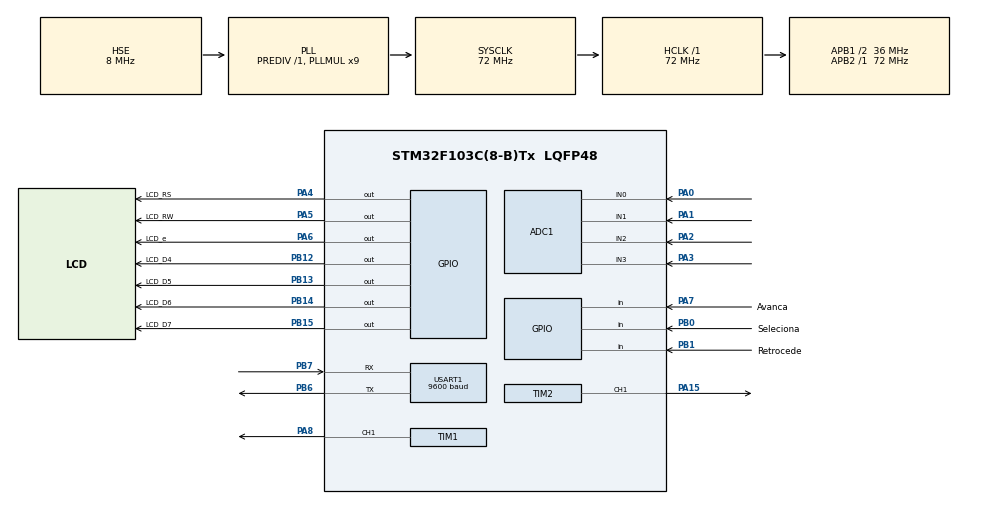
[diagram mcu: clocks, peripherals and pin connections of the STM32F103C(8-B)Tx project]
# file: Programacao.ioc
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ADC1.Channel-0\#ChannelRegularConversion=ADC_CHANNEL_0
ADC1.Channel-1\#ChannelRegularConversion=ADC_CHANNEL_1
ADC1.Channel-2\#ChannelRegularConversion=ADC_CHANNEL_2
ADC1.Channel-3\#ChannelRegularConversion=ADC_CHANNEL_3
ADC1.ContinuousConvMode=DISABLE
ADC1.EnableAnalogWatchDog=false
ADC1.ExternalTrigConv=ADC_EXTERNALTRIGCONV_T3_TRGO
ADC1.NbrOfConversion=4
ADC1.NbrOfConversionFlag=1
ADC1.Rank-0\#ChannelRegularConversion=1
ADC1.Rank-1\#ChannelRegularConversion=2
ADC1.Rank-2\#ChannelRegularConversion=3
ADC1.Rank-3\#ChannelRegularConversion=4
ADC1.SamplingTime-0\#ChannelRegularConversion=ADC_SAMPLETIME_239CYCLES_5
ADC1.SamplingTime-1\#ChannelRegularConversion=ADC_SAMPLETIME_239CYCLES_5
ADC1.SamplingTime-2\#ChannelRegularConversion=ADC_SAMPLETIME_239CYCLES_5
ADC1.SamplingTime-3\#ChannelRegularConversion=ADC_SAMPLETIME_239CYCLES_5
ADC1.master=1
Dma.ADC1.0.Direction=DMA_PERIPH_TO_MEMORY
Dma.ADC1.0.Instance=DMA1_Channel1
Dma.ADC1.0.MemDataAlignment=DMA_MDATAALIGN_WORD
Dma.ADC1.0.MemInc=DMA_MINC_ENABLE
Dma.ADC1.0.Mode=DMA_CIRCULAR
Dma.ADC1.0.PeriphDataAlignment=DMA_PDATAALIGN_WORD
Dma.ADC1.0.PeriphInc=DMA_PINC_DISABLE
Dma.ADC1.0.Priority=DMA_PRIORITY_LOW
Dma.Request0=ADC1
Dma.Request1=USART1_TX
Dma.USART1_TX.1.Direction=DMA_MEMORY_TO_PERIPH
Dma.USART1_TX.1.Instance=DMA1_Channel4
Dma.USART1_TX.1.MemDataAlignment=DMA_MDATAALIGN_BYTE
Dma.USART1_TX.1.MemInc=DMA_MINC_ENABLE
Dma.USART1_TX.1.Mode=DMA_NORMAL
Dma.USART1_TX.1.PeriphDataAlignment=DMA_PDATAALIGN_BYTE
Dma.USART1_TX.1.PeriphInc=DMA_PINC_DISABLE
Dma.USART1_TX.1.Priority=DMA_PRIORITY_LOW
Mcu.Family=STM32F1
Mcu.Name=STM32F103C(8-B)Tx
Mcu.Package=LQFP48
NVIC.ADC1_2_IRQn=true\:0\:0\:true\:false\:true\:true\:true\:true
NVIC.DMA1_Channel1_IRQn=true\:0\:0\:true\:false\:true\:false\:true\:true
NVIC.DMA1_Channel4_IRQn=true\:0\:0\:false\:false\:true\:false\:true\:true
NVIC.PriorityGroup=NVIC_PRIORITYGROUP_4
NVIC.USART1_IRQn=true\:1\:0\:true\:false\:true\:true\:true\:true
PA0-WKUP.Signal=ADCx_IN0
PA1.Signal=ADCx_IN1
PA13.Mode=Serial_Wire
PA13.Signal=SYS_JTMS-SWDIO
PA14.Mode=Serial_Wire
PA14.Signal=SYS_JTCK-SWCLK
PA15.Signal=S_TIM2_CH1_ETR
PA2.Signal=ADCx_IN2
PA3.Signal=ADCx_IN3
PA4.GPIO_Label=LCD_RS
PA4.GPIO_Speed=GPIO_SPEED_FREQ_HIGH
PA4.Signal=GPIO_Output
PA5.GPIO_Label=LCD_RW
PA5.GPIO_Speed=GPIO_SPEED_FREQ_HIGH
PA5.Signal=GPIO_Output
PA6.GPIO_Label=LCD_e
PA6.GPIO_Speed=GPIO_SPEED_FREQ_HIGH
PA6.Signal=GPIO_Output
PA7.GPIO_Label=Avanca
PA7.GPIO_PuPd=GPIO_PULLUP
PA7.Signal=GPIO_Input
PA8.Signal=S_TIM1_CH1
PB0.GPIO_Label=Seleciona
PB0.GPIO_PuPd=GPIO_PULLUP
PB0.Signal=GPIO_Input
PB1.GPIO_Label=Retrocede
PB1.GPIO_PuPd=GPIO_PULLUP
PB1.Signal=GPIO_Input
PB12.GPIO_Label=LCD_D4
PB12.GPIO_Speed=GPIO_SPEED_FREQ_HIGH
PB12.Signal=GPIO_Output
PB13.GPIO_Label=LCD_D5
PB13.GPIO_Speed=GPIO_SPEED_FREQ_HIGH
PB13.Signal=GPIO_Output
PB14.GPIO_Label=LCD_D6
PB14.GPIO_Speed=GPIO_SPEED_FREQ_HIGH
PB14.Signal=GPIO_Output
PB15.GPIO_Label=LCD_D7
PB15.GPIO_Speed=GPIO_SPEED_FREQ_HIGH
PB15.Signal=GPIO_Output
PB6.Mode=Asynchronous
PB6.Signal=USART1_TX
PB7.Mode=Asynchronous
PB7.Signal=USART1_RX
PD0-OSC_IN.Mode=HSE-External-Oscillator
PD0-OSC_IN.Signal=RCC_OSC_IN
PD1-OSC_OUT.Mode=HSE-External-Oscillator
PD1-OSC_OUT.Signal=RCC_OSC_OUT
ProjectManager.HeapSize=0x200
ProjectManager.StackSize=0x400
ProjectManager.TargetToolchain=STM32CubeIDE
RCC.ADCPresc=RCC_ADCPCLK2_DIV6
RCC.AHBFreq_Value=72000000
RCC.APB1CLKDivider=RCC_HCLK_DIV2
RCC.APB1Freq_Value=36000000
RCC.APB1TimFreq_Value=72000000
RCC.APB2Freq_Value=72000000
RCC.APB2TimFreq_Value=72000000
RCC.HCLKFreq_Value=72000000
RCC.PLLMUL=RCC_PLL_MUL9
RCC.PLLSourceVirtual=RCC_PLLSOURCE_HSE
RCC.SYSCLKFreq_VALUE=72000000
RCC.SYSCLKSource=RCC_SYSCLKSOURCE_PLLCLK
RCC.USBFreq_Value=72000000
SH.ADCx_IN0.0=ADC1_IN0,IN0
SH.ADCx_IN1.0=ADC1_IN1,IN1
SH.ADCx_IN2.0=ADC1_IN2,IN2
SH.ADCx_IN3.0=ADC1_IN3,IN3
SH.S_TIM1_CH1.0=TIM1_CH1,PWM Generation1 CH1
SH.S_TIM2_CH1_ETR.0=TIM2_CH1,PWM Generation1 CH1
TIM1.Channel-PWM\ Generation1\ CH1=TIM_CHANNEL_1
TIM1.Period=99
TIM1.Prescaler=719
TIM2.Channel-PWM\ Generation1\ CH1=TIM_CHANNEL_1
TIM2.Period=99
TIM2.Prescaler=719
TIM3.Period=999
TIM3.Prescaler=7199
TIM3.TIM_MasterOutputTrigger=TIM_TRGO_UPDATE
TIM3.TIM_MasterSlaveMode=TIM_MASTERSLAVEMODE_ENABLE
TIM4.Period=9999
TIM4.Prescaler=7199
USART1.BaudRate=9600
USART1.VirtualMode=VM_ASYNC
VP_TIM1_VS_ClockSourceINT.Mode=Internal
VP_TIM2_VS_ClockSourceINT.Mode=Internal
VP_TIM3_VS_ClockSourceINT.Mode=Internal
VP_TIM4_VS_ClockSourceINT.Mode=Internal
board=custom

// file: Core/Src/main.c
/* USER CODE BEGIN Header */
/**
  ******************************************************************************
  * @file           : main.c
  * @brief          : Main program body
  ******************************************************************************
  * @attention
  *
  * Copyright (c) 2024 STMicroelectronics.
  * All rights reserved.
  *
  * This software is licensed under terms that can be found in the LICENSE file
  * in the root directory of this software component.
  * If no LICENSE file comes with this software, it is provided AS-IS.
  *
  ******************************************************************************
  */
/* USER CODE END Header */
#include "main.h"

/* USER CODE BEGIN Includes */
#include "lcd.h"
/* USER CODE END Includes */

/* USER CODE BEGIN PD */
#define ADC_BUF_SIZE 4
/* USER CODE END PD */

/* USER CODE BEGIN PM */
char teste[32];
float umidade = 0.0f;
/* USER CODE END PM */

ADC_HandleTypeDef hadc1;
DMA_HandleTypeDef hdma_adc1;

TIM_HandleTypeDef htim1;
TIM_HandleTypeDef htim2;
TIM_HandleTypeDef htim3;
TIM_HandleTypeDef htim4;

UART_HandleTypeDef huart1;
DMA_HandleTypeDef hdma_usart1_tx;

/* USER CODE BEGIN PV */
uint32_t adc_buffer[ADC_BUF_SIZE];
uint8_t adc_ready = 0;
int currentItem = 0;
int8_t option = 0;
uint8_t flag_clear_disp = 0;
int8_t selec = 0;
int8_t aux_sub = 0;
int8_t aux_sub_modo = 0;
int8_t aux_sub_reg = 0;
int8_t aux_sub_sec = 0;

uint16_t cont = 0;
uint8_t libera_cont = 0;

uint32_t ch0;
uint32_t ch1;
uint32_t ch2;
uint32_t ch3;

uint8_t RX_msg[1];
uint8_t TX_msg[60] = "";
uint32_t Duty = 0;
/* USER CODE END PV */

void SystemClock_Config(void);
static void MX_GPIO_Init(void);
static void MX_DMA_Init(void);
static void MX_ADC1_Init(void);
static void MX_TIM3_Init(void);
static void MX_USART1_UART_Init(void);
static void MX_TIM1_Init(void);
static void MX_TIM2_Init(void);
static void MX_TIM4_Init(void);

/* USER CODE BEGIN 0 */
void HAL_UART_RxCpltCallback(UART_HandleTypeDef *huart)
{
	HAL_UART_Receive_IT(&huart1, RX_msg, 1);
}
/* USER CODE END 0 */

int main(void)
{

  /* MCU Configuration--------------------------------------------------------*/

  /* Reset of all peripherals, Initializes the Flash interface and the Systick. */
  HAL_Init();

  /* Configure the system clock */
  SystemClock_Config();

  /* Initialize all configured peripherals */
  MX_GPIO_Init();
  MX_DMA_Init();
  MX_ADC1_Init();
  MX_TIM3_Init();
  MX_USART1_UART_Init();
  MX_TIM1_Init();
  MX_TIM2_Init();
  MX_TIM4_Init();
  /* USER CODE BEGIN 2 */
  HAL_ADCEx_Calibration_Start(&hadc1);
  HAL_ADC_Start_DMA(&hadc1, adc_buffer, ADC_BUF_SIZE);
  HAL_TIM_Base_Start(&htim3);

  HAL_TIM_PWM_Start(&htim1, TIM_CHANNEL_1);
  HAL_TIM_PWM_Start(&htim2, TIM_CHANNEL_1);

  TIM1->CCR1 = 0;
  TIM2->CCR1 = 0;

  HAL_UART_Receive_IT(&huart1, RX_msg, 1);
  HAL_UART_Transmit_DMA(&huart1, TX_msg, sizeof(TX_msg));
  //HAL_UART_Transmit(&huart1, TX_msg, sizeof(TX_msg), 10);

  Lcd_PortType ports[] = {
		  LCD_D4_GPIO_Port, LCD_D5_GPIO_Port, LCD_D6_GPIO_Port, LCD_D7_GPIO_Port};
  Lcd_PinType pins[] = {LCD_D4_Pin, LCD_D5_Pin, LCD_D6_Pin, LCD_D7_Pin};
  Lcd_HandleTypeDef lcd;
  lcd = Lcd_create(ports, pins, LCD_RS_GPIO_Port, LCD_RS_Pin, LCD_e_GPIO_Port, LCD_e_Pin, LCD_4_BIT_MODE);

  Lcd_cursor(&lcd, 0, 4);
  Lcd_string(&lcd,"OhmPower");

  Lcd_cursor(&lcd, 1, 3);
  Lcd_string(&lcd,"Electronic");

  HAL_Delay(5000);

  Lcd_clear(&lcd);
  /* USER CODE END 2 */

  /* Infinite loop */
  while (1)
  {

    /* USER CODE BEGIN 3 */
	  if(adc_ready == 1){
		  adc_ready = 0;
		  ch0 = 4095 - adc_buffer[0];//Sensor de Umidade Planta
		  umidade = 100*(float)ch0/4095;
		  ch1 = adc_buffer[1];//Sensor de Nivel Prato
		  ch2 = adc_buffer[2];//Sensor de Nivel Reservatorio
		  ch3 = adc_buffer[3];

		  loop();

		  /*sprintf(TX_msg, "Valor Digital = %u %u %u %u\r\n", ch0, ch1, ch2, ch3);
		  //HAL_UART_Transmit_IT(&huart1, TX_msg, sizeof(TX_msg), 20);
		  HAL_UART_Transmit_DMA(&huart1, TX_msg, sizeof(TX_msg));

		  HAL_Delay(100);
		  sprintf(TX_msg, "Valor adc_ready = %d\r\n", adc_ready);
		  HAL_UART_Transmit_DMA(&huart1, TX_msg, sizeof(TX_msg));*/

		  //Duty = 1 + (ch0*98/4095);

		  //TIM1->CCR1 = Duty;
		  //TIM2->CCR1 = Duty;
		  /*Lcd_cursor(&lcd, 0, 0);
		  sprintf(teste,"%u %u", ch0, ch1);
		  Lcd_string(&lcd,teste);
		  Lcd_cursor(&lcd, 1, 0);
		  sprintf(teste,"%u %u", ch2, ch3);
		  Lcd_string(&lcd,teste);
		  */
	  }

	  if (flag_clear_disp == 1){
		  Lcd_clear(&lcd);
		  flag_clear_disp = 0;
	  }

	  //loop();

	  switch (option) {
		  case 0://Quador de Avisos
			  switch (selec) {
				  case 0://Sub quadro principal
					Lcd_cursor(&lcd, 0, 5);
					Lcd_string(&lcd,"Avisos");
					break;
				  case 1://Sub quadro de Indicação de Umidade
					if(ch0 >= 1600){
						//Lcd_clear(&lcd);
						Lcd_cursor(&lcd, 0, 2);
						Lcd_string(&lcd,"Umidade Alta ");
					}
					else if(ch0 < 1600 && ch0 > 400){
						//Lcd_clear(&lcd);
						Lcd_cursor(&lcd, 0, 2);
						Lcd_string(&lcd,"Umidade Boa  ");
					}
					else{
						//Lcd_clear(&lcd);
						Lcd_cursor(&lcd, 0, 2);
						Lcd_string(&lcd,"Umidade Baixa");
					}
					break;
				  case 2://Sub quadro de Indicação de Risco de Dengue
						if(ch1 > 1600){
							//Lcd_clear(&lcd);
							Lcd_cursor(&lcd, 0, 0);
							Lcd_string(&lcd,"Risco de Dengue");
							Lcd_cursor(&lcd, 1, 0);
							Lcd_string(&lcd,"Esvazie o Prato");
						}
						else{
							//Lcd_clear(&lcd);
							Lcd_cursor(&lcd, 0, 0);
							Lcd_string(&lcd,"Sem Risco de");
							Lcd_cursor(&lcd, 1, 0);
							Lcd_string(&lcd,"Dengue         ");
						}
						break;
				  case 3:
						Lcd_cursor(&lcd, 0, 0);
						Lcd_string(&lcd,"Alta Umidade");
						Lcd_cursor(&lcd, 1, 0);
						Lcd_string(&lcd,"Afoga a Planta");
						break;
				  case 4:
						Lcd_cursor(&lcd, 0, 0);
						Lcd_string(&lcd,"Todos Contra o");
						Lcd_cursor(&lcd, 1, 0);
						Lcd_string(&lcd,"Mosquito");
						break;
			  }
			  break;
		  case 1://Quadro de Umidade Atual e Desejada
			  switch (selec) {
				  case 0://Sub quadro Principal
					  Lcd_cursor(&lcd, 0, 5);
					  Lcd_string(&lcd,"Umidade");
					  Lcd_cursor(&lcd, 1, 4);
					  Lcd_string(&lcd,"da Planta");
					  break;
				  case 1:
					  Lcd_cursor(&lcd, 0, 2);
					  Lcd_string(&lcd,"Umidade Atual");

					  Lcd_cursor(&lcd, 1, 6);
					  sprintf(teste,"%.2f %%", umidade);
					  Lcd_string(&lcd,teste);
					  break;
				  case 2:
					  Lcd_cursor(&lcd, 0, 0);
					  Lcd_string(&lcd,"Umidade Desejada");

					  Lcd_cursor(&lcd, 1, 6);
					  sprintf(teste,"%u %%", aux_sub*10);
					  Lcd_string(&lcd,teste);
					  if (aux_sub>4){
						  Lcd_cursor(&lcd, 1, 4);
						  Lcd_string(&lcd,"!");
						  Lcd_cursor(&lcd, 1, 11);
						  Lcd_string(&lcd,"!");
					  }
					  else if (aux_sub<4){
						  Lcd_cursor(&lcd, 1, 4);
						  Lcd_string(&lcd," ");
						  Lcd_cursor(&lcd, 1, 11);
						  Lcd_string(&lcd," ");
					  }
					  break;

			  }
			  break;
		  case 2://Quadro de Modo Automatico
			  switch (selec) {
				  case 0:
					  Lcd_cursor(&lcd, 0, 2);
					  Lcd_string(&lcd,"Regar Planta");
					  Lcd_cursor(&lcd, 1, 0);
					  Lcd_string(&lcd,"Automaticamente");
					  break;
				  case 1:
					  if(aux_sub_modo == 0){
						  Lcd_cursor(&lcd, 0, 1);
						  Lcd_string(&lcd,"Modo Automatico");
						  Lcd_cursor(&lcd, 1, 0);
						  Lcd_string(&lcd,"Desativado");
						  libera_cont = 0;
					  }
					  else if (aux_sub_modo == 1){
						  Lcd_cursor(&lcd, 0, 1);
						  Lcd_string(&lcd,"Modo Automatico");
						  Lcd_cursor(&lcd, 1, 0);
						  Lcd_string(&lcd,"Ativado");
						  libera_cont = 1;
					  }
					  break;
			  }

			  break;
		  case 3://Quadro de Regar Manualmente
			  switch (selec) {
				  case 0:
					  Lcd_cursor(&lcd, 0, 2);
					  Lcd_string(&lcd,"Regar Planta");
					  Lcd_cursor(&lcd, 1, 2);
					  Lcd_string(&lcd,"Manualmente");
					  break;
				  case 1:
					  if(aux_sub_reg == 0){
						  Lcd_cursor(&lcd, 0, 1);
						  Lcd_string(&lcd,"Regar Planta");
						  Lcd_cursor(&lcd, 1, 0);
						  Lcd_string(&lcd,"Desativado");
						  TIM1->CCR1 = 0;
					  }
					  else if (aux_sub_reg == 1){
						  Lcd_cursor(&lcd, 0, 1);
						  Lcd_string(&lcd,"Regar Planta");
						  Lcd_cursor(&lcd, 1, 0);
						  Lcd_string(&lcd,"Ativado");
						  TIM1->CCR1 = 65;
						  //libera_cont = 1;
					  }
					  break;
			  }
			  break;
		  case 4://Quadro de Secar Manulmente
			  switch (selec) {
				  case 0:
					  Lcd_cursor(&lcd, 0, 2);
					  Lcd_string(&lcd,"Secar Prato");
					  Lcd_cursor(&lcd, 1, 2);
					  Lcd_string(&lcd,"Manualmente");
					  break;
				  case 1:
					  if(aux_sub_sec == 0){
						  Lcd_cursor(&lcd, 0, 2);
						  Lcd_string(&lcd,"Secar Prato");
						  Lcd_cursor(&lcd, 1, 0);
						  Lcd_string(&lcd,"Desativado");
						  TIM2->CCR1 = 0;
					  }
					  else if (aux_sub_sec == 1){
						  Lcd_cursor(&lcd, 0, 2);
						  Lcd_string(&lcd,"Secar Prato");
						  Lcd_cursor(&lcd, 1, 0);
						  Lcd_string(&lcd,"Ativado");
						  TIM2->CCR1 = 75;
					  }
					  break;
			  }
			  break;
	  }

  }
  /* USER CODE END 3 */
}

void SystemClock_Config(void)
{
  RCC_OscInitTypeDef RCC_OscInitStruct = {0};
  RCC_ClkInitTypeDef RCC_ClkInitStruct = {0};
  RCC_PeriphCLKInitTypeDef PeriphClkInit = {0};

  /** Initializes the RCC Oscillators according to the specified parameters
  * in the RCC_OscInitTypeDef structure.
  */
  RCC_OscInitStruct.OscillatorType = RCC_OSCILLATORTYPE_HSE;
  RCC_OscInitStruct.HSEState = RCC_HSE_ON;
  RCC_OscInitStruct.HSEPredivValue = RCC_HSE_PREDIV_DIV1;
  RCC_OscInitStruct.HSIState = RCC_HSI_ON;
  RCC_OscInitStruct.PLL.PLLState = RCC_PLL_ON;
  RCC_OscInitStruct.PLL.PLLSource = RCC_PLLSOURCE_HSE;
  RCC_OscInitStruct.PLL.PLLMUL = RCC_PLL_MUL9;
  if (HAL_RCC_OscConfig(&RCC_OscInitStruct) != HAL_OK)
  {
    Error_Handler();
  }

  /** Initializes the CPU, AHB and APB buses clocks
  */
  RCC_ClkInitStruct.ClockType = RCC_CLOCKTYPE_HCLK|RCC_CLOCKTYPE_SYSCLK
                              |RCC_CLOCKTYPE_PCLK1|RCC_CLOCKTYPE_PCLK2;
  RCC_ClkInitStruct.SYSCLKSource = RCC_SYSCLKSOURCE_PLLCLK;
  RCC_ClkInitStruct.AHBCLKDivider = RCC_SYSCLK_DIV1;
  RCC_ClkInitStruct.APB1CLKDivider = RCC_HCLK_DIV2;
  RCC_ClkInitStruct.APB2CLKDivider = RCC_HCLK_DIV1;

  if (HAL_RCC_ClockConfig(&RCC_ClkInitStruct, FLASH_LATENCY_2) != HAL_OK)
  {
    Error_Handler();
  }
  PeriphClkInit.PeriphClockSelection = RCC_PERIPHCLK_ADC;
  PeriphClkInit.AdcClockSelection = RCC_ADCPCLK2_DIV6;
  if (HAL_RCCEx_PeriphCLKConfig(&PeriphClkInit) != HAL_OK)
  {
    Error_Handler();
  }
}

static void MX_ADC1_Init(void)
{

  ADC_ChannelConfTypeDef sConfig = {0};

  /** Common config
  */
  hadc1.Instance = ADC1;
  hadc1.Init.ScanConvMode = ADC_SCAN_ENABLE;
  hadc1.Init.ContinuousConvMode = DISABLE;
  hadc1.Init.DiscontinuousConvMode = DISABLE;
  hadc1.Init.ExternalTrigConv = ADC_EXTERNALTRIGCONV_T3_TRGO;
  hadc1.Init.DataAlign = ADC_DATAALIGN_RIGHT;
  hadc1.Init.NbrOfConversion = 4;
  if (HAL_ADC_Init(&hadc1) != HAL_OK)
  {
    Error_Handler();
  }

  /** Configure Regular Channel
  */
  sConfig.Channel = ADC_CHANNEL_0;
  sConfig.Rank = ADC_REGULAR_RANK_1;
  sConfig.SamplingTime = ADC_SAMPLETIME_239CYCLES_5;
  if (HAL_ADC_ConfigChannel(&hadc1, &sConfig) != HAL_OK)
  {
    Error_Handler();
  }

  /** Configure Regular Channel
  */
  sConfig.Channel = ADC_CHANNEL_1;
  sConfig.Rank = ADC_REGULAR_RANK_2;
  if (HAL_ADC_ConfigChannel(&hadc1, &sConfig) != HAL_OK)
  {
    Error_Handler();
  }

  /** Configure Regular Channel
  */
  sConfig.Channel = ADC_CHANNEL_2;
  sConfig.Rank = ADC_REGULAR_RANK_3;
  if (HAL_ADC_ConfigChannel(&hadc1, &sConfig) != HAL_OK)
  {
    Error_Handler();
  }

  /** Configure Regular Channel
  */
  sConfig.Channel = ADC_CHANNEL_3;
  sConfig.Rank = ADC_REGULAR_RANK_4;
  if (HAL_ADC_ConfigChannel(&hadc1, &sConfig) != HAL_OK)
  {
    Error_Handler();
  }

}

static void MX_TIM1_Init(void)
{

  TIM_ClockConfigTypeDef sClockSourceConfig = {0};
  TIM_MasterConfigTypeDef sMasterConfig = {0};
  TIM_OC_InitTypeDef sConfigOC = {0};
  TIM_BreakDeadTimeConfigTypeDef sBreakDeadTimeConfig = {0};

  htim1.Instance = TIM1;
  htim1.Init.Prescaler = 719;
  htim1.Init.CounterMode = TIM_COUNTERMODE_UP;
  htim1.Init.Period = 99;
  htim1.Init.ClockDivision = TIM_CLOCKDIVISION_DIV1;
  htim1.Init.RepetitionCounter = 0;
  htim1.Init.AutoReloadPreload = TIM_AUTORELOAD_PRELOAD_DISABLE;
  if (HAL_TIM_Base_Init(&htim1) != HAL_OK)
  {
    Error_Handler();
  }
  sClockSourceConfig.ClockSource = TIM_CLOCKSOURCE_INTERNAL;
  if (HAL_TIM_ConfigClockSource(&htim1, &sClockSourceConfig) != HAL_OK)
  {
    Error_Handler();
  }
  if (HAL_TIM_PWM_Init(&htim1) != HAL_OK)
  {
    Error_Handler();
  }
  sMasterConfig.MasterOutputTrigger = TIM_TRGO_RESET;
  sMasterConfig.MasterSlaveMode = TIM_MASTERSLAVEMODE_DISABLE;
  if (HAL_TIMEx_MasterConfigSynchronization(&htim1, &sMasterConfig) != HAL_OK)
  {
    Error_Handler();
  }
  sConfigOC.OCMode = TIM_OCMODE_PWM1;
  sConfigOC.Pulse = 0;
  sConfigOC.OCPolarity = TIM_OCPOLARITY_HIGH;
  sConfigOC.OCNPolarity = TIM_OCNPOLARITY_HIGH;
  sConfigOC.OCFastMode = TIM_OCFAST_DISABLE;
  sConfigOC.OCIdleState = TIM_OCIDLESTATE_RESET;
  sConfigOC.OCNIdleState = TIM_OCNIDLESTATE_RESET;
  if (HAL_TIM_PWM_ConfigChannel(&htim1, &sConfigOC, TIM_CHANNEL_1) != HAL_OK)
  {
    Error_Handler();
  }
  sBreakDeadTimeConfig.OffStateRunMode = TIM_OSSR_DISABLE;
  sBreakDeadTimeConfig.OffStateIDLEMode = TIM_OSSI_DISABLE;
  sBreakDeadTimeConfig.LockLevel = TIM_LOCKLEVEL_OFF;
  sBreakDeadTimeConfig.DeadTime = 0;
  sBreakDeadTimeConfig.BreakState = TIM_BREAK_DISABLE;
  sBreakDeadTimeConfig.BreakPolarity = TIM_BREAKPOLARITY_HIGH;
  sBreakDeadTimeConfig.AutomaticOutput = TIM_AUTOMATICOUTPUT_DISABLE;
  if (HAL_TIMEx_ConfigBreakDeadTime(&htim1, &sBreakDeadTimeConfig) != HAL_OK)
  {
    Error_Handler();
  }
  HAL_TIM_MspPostInit(&htim1);

}

static void MX_TIM2_Init(void)
{

  TIM_ClockConfigTypeDef sClockSourceConfig = {0};
  TIM_MasterConfigTypeDef sMasterConfig = {0};
  TIM_OC_InitTypeDef sConfigOC = {0};

  htim2.Instance = TIM2;
  htim2.Init.Prescaler = 719;
  htim2.Init.CounterMode = TIM_COUNTERMODE_UP;
  htim2.Init.Period = 99;
  htim2.Init.ClockDivision = TIM_CLOCKDIVISION_DIV1;
  htim2.Init.AutoReloadPreload = TIM_AUTORELOAD_PRELOAD_DISABLE;
  if (HAL_TIM_Base_Init(&htim2) != HAL_OK)
  {
    Error_Handler();
  }
  sClockSourceConfig.ClockSource = TIM_CLOCKSOURCE_INTERNAL;
  if (HAL_TIM_ConfigClockSource(&htim2, &sClockSourceConfig) != HAL_OK)
  {
    Error_Handler();
  }
  if (HAL_TIM_PWM_Init(&htim2) != HAL_OK)
  {
    Error_Handler();
  }
  sMasterConfig.MasterOutputTrigger = TIM_TRGO_RESET;
  sMasterConfig.MasterSlaveMode = TIM_MASTERSLAVEMODE_DISABLE;
  if (HAL_TIMEx_MasterConfigSynchronization(&htim2, &sMasterConfig) != HAL_OK)
  {
    Error_Handler();
  }
  sConfigOC.OCMode = TIM_OCMODE_PWM1;
  sConfigOC.Pulse = 0;
  sConfigOC.OCPolarity = TIM_OCPOLARITY_HIGH;
  sConfigOC.OCFastMode = TIM_OCFAST_DISABLE;
  if (HAL_TIM_PWM_ConfigChannel(&htim2, &sConfigOC, TIM_CHANNEL_1) != HAL_OK)
  {
    Error_Handler();
  }
  HAL_TIM_MspPostInit(&htim2);

}

static void MX_TIM3_Init(void)
{

  TIM_ClockConfigTypeDef sClockSourceConfig = {0};
  TIM_MasterConfigTypeDef sMasterConfig = {0};

  htim3.Instance = TIM3;
  htim3.Init.Prescaler = 7199;
  htim3.Init.CounterMode = TIM_COUNTERMODE_UP;
  htim3.Init.Period = 999;
  htim3.Init.ClockDivision = TIM_CLOCKDIVISION_DIV1;
  htim3.Init.AutoReloadPreload = TIM_AUTORELOAD_PRELOAD_DISABLE;
  if (HAL_TIM_Base_Init(&htim3) != HAL_OK)
  {
    Error_Handler();
  }
  sClockSourceConfig.ClockSource = TIM_CLOCKSOURCE_INTERNAL;
  if (HAL_TIM_ConfigClockSource(&htim3, &sClockSourceConfig) != HAL_OK)
  {
    Error_Handler();
  }
  sMasterConfig.MasterOutputTrigger = TIM_TRGO_UPDATE;
  sMasterConfig.MasterSlaveMode = TIM_MASTERSLAVEMODE_ENABLE;
  if (HAL_TIMEx_MasterConfigSynchronization(&htim3, &sMasterConfig) != HAL_OK)
  {
    Error_Handler();
  }

}

static void MX_TIM4_Init(void)
{

  TIM_ClockConfigTypeDef sClockSourceConfig = {0};
  TIM_MasterConfigTypeDef sMasterConfig = {0};

  htim4.Instance = TIM4;
  htim4.Init.Prescaler = 7199;
  htim4.Init.CounterMode = TIM_COUNTERMODE_UP;
  htim4.Init.Period = 9999;
  htim4.Init.ClockDivision = TIM_CLOCKDIVISION_DIV1;
  htim4.Init.AutoReloadPreload = TIM_AUTORELOAD_PRELOAD_DISABLE;
  if (HAL_TIM_Base_Init(&htim4) != HAL_OK)
  {
    Error_Handler();
  }
  sClockSourceConfig.ClockSource = TIM_CLOCKSOURCE_INTERNAL;
  if (HAL_TIM_ConfigClockSource(&htim4, &sClockSourceConfig) != HAL_OK)
  {
    Error_Handler();
  }
  sMasterConfig.MasterOutputTrigger = TIM_TRGO_RESET;
  sMasterConfig.MasterSlaveMode = TIM_MASTERSLAVEMODE_DISABLE;
  if (HAL_TIMEx_MasterConfigSynchronization(&htim4, &sMasterConfig) != HAL_OK)
  {
    Error_Handler();
  }

}

static void MX_USART1_UART_Init(void)
{

  huart1.Instance = USART1;
  huart1.Init.BaudRate = 9600;
  huart1.Init.WordLength = UART_WORDLENGTH_8B;
  huart1.Init.StopBits = UART_STOPBITS_1;
  huart1.Init.Parity = UART_PARITY_NONE;
  huart1.Init.Mode = UART_MODE_TX_RX;
  huart1.Init.HwFlowCtl = UART_HWCONTROL_NONE;
  huart1.Init.OverSampling = UART_OVERSAMPLING_16;
  if (HAL_UART_Init(&huart1) != HAL_OK)
  {
    Error_Handler();
  }

}

static void MX_DMA_Init(void)
{

  /* DMA controller clock enable */
  __HAL_RCC_DMA1_CLK_ENABLE();

  /* DMA interrupt init */
  /* DMA1_Channel1_IRQn interrupt configuration */
  HAL_NVIC_SetPriority(DMA1_Channel1_IRQn, 0, 0);
  HAL_NVIC_EnableIRQ(DMA1_Channel1_IRQn);
  /* DMA1_Channel4_IRQn interrupt configuration */
  HAL_NVIC_SetPriority(DMA1_Channel4_IRQn, 0, 0);
  HAL_NVIC_EnableIRQ(DMA1_Channel4_IRQn);

}

static void MX_GPIO_Init(void)
{
  GPIO_InitTypeDef GPIO_InitStruct = {0};

  /* GPIO Ports Clock Enable */
  __HAL_RCC_GPIOD_CLK_ENABLE();
  __HAL_RCC_GPIOA_CLK_ENABLE();
  __HAL_RCC_GPIOB_CLK_ENABLE();

  /*Configure GPIO pin Output Level */
  HAL_GPIO_WritePin(GPIOA, LCD_RS_Pin|LCD_RW_Pin|LCD_e_Pin, GPIO_PIN_RESET);

  /*Configure GPIO pin Output Level */
  HAL_GPIO_WritePin(GPIOB, LCD_D4_Pin|LCD_D5_Pin|LCD_D6_Pin|LCD_D7_Pin, GPIO_PIN_RESET);

  /*Configure GPIO pins : LCD_RS_Pin LCD_RW_Pin LCD_e_Pin */
  GPIO_InitStruct.Pin = LCD_RS_Pin|LCD_RW_Pin|LCD_e_Pin;
  GPIO_InitStruct.Mode = GPIO_MODE_OUTPUT_PP;
  GPIO_InitStruct.Pull = GPIO_NOPULL;
  GPIO_InitStruct.Speed = GPIO_SPEED_FREQ_HIGH;
  HAL_GPIO_Init(GPIOA, &GPIO_InitStruct);

  /*Configure GPIO pin : Avanca_Pin */
  GPIO_InitStruct.Pin = Avanca_Pin;
  GPIO_InitStruct.Mode = GPIO_MODE_INPUT;
  GPIO_InitStruct.Pull = GPIO_PULLUP;
  HAL_GPIO_Init(Avanca_GPIO_Port, &GPIO_InitStruct);

  /*Configure GPIO pins : Seleciona_Pin Retrocede_Pin */
  GPIO_InitStruct.Pin = Seleciona_Pin|Retrocede_Pin;
  GPIO_InitStruct.Mode = GPIO_MODE_INPUT;
  GPIO_InitStruct.Pull = GPIO_PULLUP;
  HAL_GPIO_Init(GPIOB, &GPIO_InitStruct);

  /*Configure GPIO pins : LCD_D4_Pin LCD_D5_Pin LCD_D6_Pin LCD_D7_Pin */
  GPIO_InitStruct.Pin = LCD_D4_Pin|LCD_D5_Pin|LCD_D6_Pin|LCD_D7_Pin;
  GPIO_InitStruct.Mode = GPIO_MODE_OUTPUT_PP;
  GPIO_InitStruct.Pull = GPIO_NOPULL;
  GPIO_InitStruct.Speed = GPIO_SPEED_FREQ_HIGH;
  HAL_GPIO_Init(GPIOB, &GPIO_InitStruct);

}

/* USER CODE BEGIN 4 */
//void HAL_ADC_ConvHalfCpltCallback(ADC_HandleTypeDef* hadc)
void HAL_ADC_ConvCpltCallback(ADC_HandleTypeDef* hadc)
{
  /* Prevent unused argument(s) compilation warning */
  //UNUSED(hadc);
  adc_ready = 1;

  if (libera_cont == 1 && cont<600){
  		if(cont<35 && umidade<(aux_sub*10)){
  			TIM1->CCR1 = 65;
  		}
  		else{
  			TIM1->CCR1 = 0;
  		}
  		if(cont<45 && ch1>2500){
  			TIM2->CCR1 = 75;
  		}
  		else{
  			TIM2->CCR1 = 0;
  		}
  		cont++;
  }
  else if(cont>600 && libera_cont == 1){
	  cont = 0;
  }
  else{
	  cont = 0;
  }
  //HAL_ADC_Stop_DMA(&hadc1);
}

void loop(void) {
    // Estados atuais e anteriores dos botões
    static uint8_t lastStateAvanca = GPIO_PIN_SET;
    static uint8_t lastStateSeleciona = GPIO_PIN_SET;
    static uint8_t lastStateRetrocede = GPIO_PIN_SET;

    // Tempo da última mudança de estado dos botões
    static uint32_t lastDebounceTimeAvanca = 0;
    static uint32_t lastDebounceTimeSeleciona = 0;
    static uint32_t lastDebounceTimeRetrocede = 0;

    // Tempo de debounce (em milissegundos)
    const uint32_t debounceDelay = 140;

    // Leitura atual dos estados dos botões
    uint8_t currentStateAvanca = HAL_GPIO_ReadPin(Avanca_GPIO_Port, Avanca_Pin);
    uint8_t currentStateSeleciona = HAL_GPIO_ReadPin(Seleciona_GPIO_Port, Seleciona_Pin);
    uint8_t currentStateRetrocede = HAL_GPIO_ReadPin(Retrocede_GPIO_Port, Retrocede_Pin);

    // Processamento do botão Avanca
    if (currentStateAvanca != lastStateAvanca) {
        lastDebounceTimeAvanca = HAL_GetTick();
    }

    if ((HAL_GetTick() - lastDebounceTimeAvanca) > debounceDelay) {
        // Verifica se o estado do botão mudou após o tempo de debounce
        if (currentStateAvanca == GPIO_PIN_RESET) {
        	if (selec == 0){//Bloqueia
        		option += 1;
				flag_clear_disp = 1;
				if (option > 4){
					option = 0;
				}
        	}
        	else if (selec == 2 && option == 1){//valor desejado
        		flag_clear_disp = 1;
        		aux_sub += 1;
        		if (aux_sub > 10){
        			aux_sub = 0;
        		}
        	}
        	else if (selec == 1 && option == 2){//Modo de Operação automatico
				flag_clear_disp = 1;
				aux_sub_modo += 1;
				if (aux_sub_modo > 1){
					aux_sub_modo = 0;
				}
			}
        	else if (selec == 1 && option == 3){//Modo de Regar Manual
				flag_clear_disp = 1;
				aux_sub_reg += 1;
				if (aux_sub_reg > 1){
					aux_sub_reg = 0;
				}
			}
        	else if (selec == 1 && option == 4){//Modo de Secar Manual
				flag_clear_disp = 1;
				aux_sub_sec += 1;
				if (aux_sub_sec > 1){
					aux_sub_sec = 0;
				}
			}
        }
    }

    lastStateAvanca = currentStateAvanca;  // Atualiza o estado anterior

    // Processamento do botão Seleciona
    if (currentStateSeleciona != lastStateSeleciona) {
        lastDebounceTimeSeleciona = HAL_GetTick();
    }

    if ((HAL_GetTick() - lastDebounceTimeSeleciona) > debounceDelay) {
        if (currentStateSeleciona == GPIO_PIN_RESET) {
        	switch (option) {
			  case 0:
				  flag_clear_disp = 1;
				  selec += 1;
				  if (selec > 4){
						selec = 0;
					}
				  break;
			  case 1:
				  flag_clear_disp = 1;
				  selec += 1;
				  if (selec > 2){
						selec = 0;
					}
				  break;
			  case 2:
				  flag_clear_disp = 1;
				  selec += 1;
				  if (selec > 1){
						selec = 0;
					}
				  break;
			  case 3:
				  flag_clear_disp = 1;
				  selec += 1;
				  if (selec > 1){
						selec = 0;
					}
				  break;
			  case 4:
				  flag_clear_disp = 1;
				  selec += 1;
				  if (selec > 1){
						selec = 0;
					}
				  break;
		  }
        }
    }

    lastStateSeleciona = currentStateSeleciona;

    // Processamento do botão Retrocede
    if (currentStateRetrocede != lastStateRetrocede) {
        lastDebounceTimeRetrocede = HAL_GetTick();
    }

    if ((HAL_GetTick() - lastDebounceTimeRetrocede) > debounceDelay) {
        if (currentStateRetrocede == GPIO_PIN_RESET) {
        	if(selec == 0){
        		option -= 1;
				flag_clear_disp = 1;
				if (option < 0){
					option = 4;
				}
        	}
        	else if (selec == 2 && option == 1){//valor desejado
				flag_clear_disp = 1;
				aux_sub -= 1;
				if (aux_sub < 0){
					aux_sub = 10;
				}
			}
        	else if (selec == 1 && option == 2){//Modo de Operação automatico
				flag_clear_disp = 1;
				aux_sub_modo -= 1;
				if (aux_sub_modo < 0){
					aux_sub_modo = 1;
				}
			}
        	else if (selec == 1 && option == 3){//Modo de Regar Manual
				flag_clear_disp = 1;
				aux_sub_reg -= 1;
				if (aux_sub_reg < 0){
					aux_sub_reg = 1;
				}
			}
        	else if (selec == 1 && option == 4){//Modo de Secar Manual
				flag_clear_disp = 1;
				aux_sub_sec -= 1;
				if (aux_sub_sec < 0){
					aux_sub_sec = 1;
				}
			}
        }
    }

    lastStateRetrocede = currentStateRetrocede;
}

void HAL_TIM_PeriodElapsedCallback(TIM_HandleTypeDef *htim4){
	//adc_ready = 1;
	if (libera_cont == 1){
		if(cont<10 && umidade<(100)){
			TIM1->CCR1 = 75;
		}
		else{
			TIM1->CCR1 = 0;
		}
		if(cont<10 && ch1>1600){
			TIM2->CCR1 = 75;
		}
		else{
			TIM2->CCR1 = 0;
		}
		cont++;
	}
	else if(libera_cont == 1 && cont>60){
		cont = 0;
	}
	else{
		cont = 0;
	}
}
/* USER CODE END 4 */

void Error_Handler(void)
{
  __disable_irq();
  while (1)
  {
  }
}
